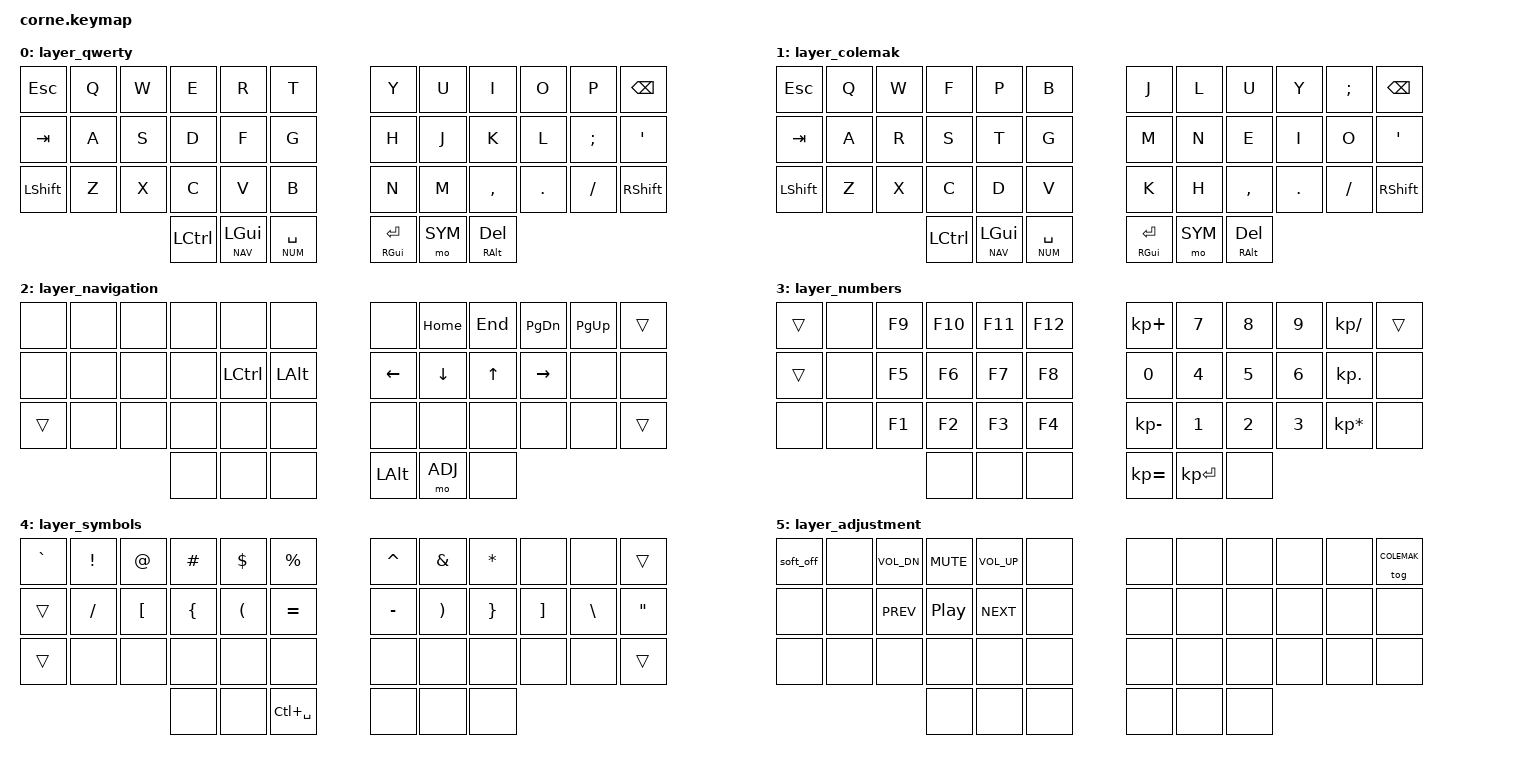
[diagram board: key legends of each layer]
/*
 * Copyright (c) 2020 The ZMK Contributors
 *
 * SPDX-License-Identifier: MIT
 */

#include <behaviors.dtsi>
#include <dt-bindings/zmk/keys.h>

#define QWERTY  0
#define COLEMAK 1
#define NAV     2
#define NUM     3
#define SYM     4
#define ADJ     5

#define ALPHAS  QWERTY COLEMAK

&caps_word {
        continue-list = <UNDERSCORE MINUS BSPC DEL N1 N2 N3 N4 N5 N6 N7 N8 N9 N0>;
};

&soft_off {
        hold-time-ms = <3000>;
};

/ {
        combos {
    	        compatible = "zmk,combos";

                combo_capsword {
                        timeout-ms = <150>;
                        key-positions = <24 35>;
                        bindings = <&caps_word>;
                        layers = <ALPHAS>;
                };
        };

        keymap {
                compatible = "zmk,keymap";

                layer_qwerty {
                        bindings = <
   &kp ESC   &kp Q &kp W &kp E &kp R &kp T      &kp Y &kp U  &kp I     &kp O   &kp P    &kp BSPC
   &kp TAB   &kp A &kp S &kp D &kp F &kp G      &kp H &kp J  &kp K     &kp L   &kp SEMI &kp SQT
   &kp LSHFT &kp Z &kp X &kp C &kp V &kp B      &kp N &kp M  &kp COMMA &kp DOT &kp FSLH &kp RSHFT
      &kp LCTRL &lt NAV LGUI &lt NUM SPACE      &mt RGUI ENTER &mo SYM &mt RALT DEL 
                        >;
                };

                layer_colemak {
                        bindings = <
   &kp ESC   &kp Q &kp W &kp F &kp P &kp B      &kp J &kp L  &kp U     &kp Y   &kp SEMI &kp BSPC
   &kp TAB   &kp A &kp R &kp S &kp T &kp G      &kp M &kp N  &kp E     &kp I   &kp O    &kp SQT
   &kp LSHFT &kp Z &kp X &kp C &kp D &kp V      &kp K &kp H  &kp COMMA &kp DOT &kp FSLH &kp RSHFT
      &kp LCTRL &lt NAV LGUI &lt NUM SPACE      &mt RGUI ENTER &mo SYM &mt RALT DEL 
                        >;
                };

                layer_navigation {
                        bindings = <
   &none  &none &none &none &none     &none         &none    &kp HOME &kp END &kp PG_DN &kp PG_UP &trans
   &none  &none &none &none &kp LCTRL &kp LALT      &kp LEFT &kp DOWN &kp UP  &kp RIGHT &none     &none
   &trans &none &none &none &none     &none         &none    &none    &none   &none     &none     &trans
                             &none &none &none      &kp LALT &mo ADJ  &none
                        >;
                };

                layer_numbers {
                        bindings = <
   &trans &none &kp F9 &kp F10 &kp F11 &kp F12      &kp KP_PLUS  &kp N7 &kp N8 &kp N9 &kp KP_SLASH    &trans
   &trans &none &kp F5 &kp F6  &kp F7  &kp F8       &kp N0       &kp N4 &kp N5 &kp N6 &kp KP_DOT      &none
   &none  &none &kp F1 &kp F2  &kp F3  &kp F4       &kp KP_MINUS &kp N1 &kp N2 &kp N3 &kp KP_ASTERISK &none
                             &none &none &none      &kp KP_EQUAL &kp KP_ENTER &none
                        >;
                };

                layer_symbols {
                        bindings = <
   &kp GRAVE &kp EXCL  &kp AT   &kp HASH &kp DLLR &kp PRCNT      &kp CARET &kp AMPS &kp ASTRK &none    &none    &trans
   &trans    &kp SLASH &kp LBKT &kp LBRC &kp LPAR &kp EQUAL      &kp MINUS &kp RPAR &kp RBRC  &kp RBKT &kp BSLH &kp DQT
   &trans    &none     &none    &none    &none    &none          &none     &none    &none     &none    &none    &trans
                                  &none &none &kp LC(SPACE)      &none     &none    &none
                        >;
                };

                layer_adjustment {
                        bindings = <
   &soft_off &none &kp C_VOL_DN &kp C_MUTE &kp C_VOL_UP &none      &none &none &none &none &none &tog COLEMAK 
   &none     &none &kp C_PREV   &kp C_PP   &kp C_NEXT   &none      &none &none &none &none &none &none
   &none     &none &none        &none      &none        &none      &none &none &none &none &none &none
                                            &none &none &none      &none &none &none  
                        >;
                };
        };
};
